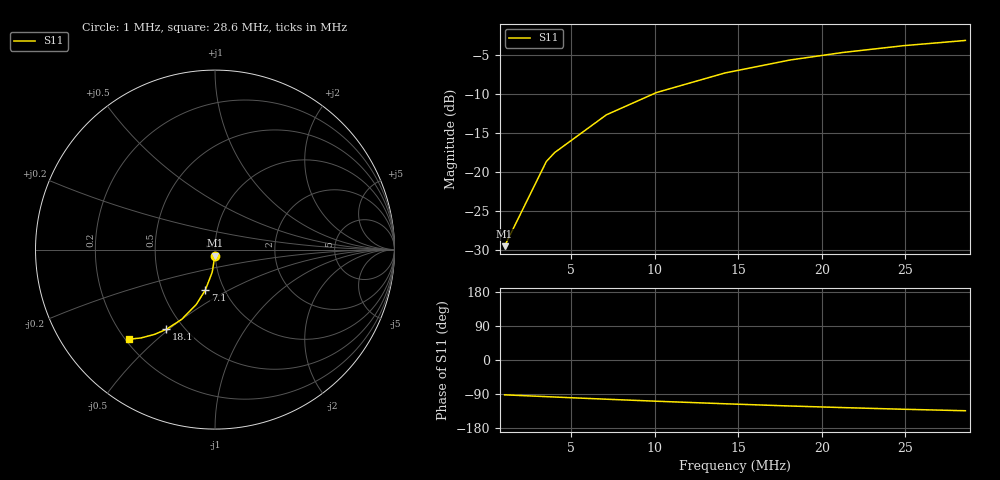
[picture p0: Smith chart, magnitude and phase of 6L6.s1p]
! ea3ghs(at)gmail.com
! 6L6 common grid VPP=311 IPP=72m
! output impedance 1675//6.3pF
#MHz S MA R 1675
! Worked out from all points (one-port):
!   10 points, 1 MHz to 28.6 MHz, reference 1675 ohm
!   lowest |S11| = -29.4 dB at 1 MHz (marker M1), VSWR 1.07, Z = 1.67e+03 - j112 ohm
!   |S11| at or under -10 dB: start of sweep to 9.914 MHz
!   S11 on the Smith chart (normalised r, x): 1 MHz: 1.00, -0.07; 7.1 MHz: 0.81, -0.39; 18.1 MHz: 0.40, -0.49; 28.6 MHz: 0.21, -0.41
1  0.0337 -91.9
3.5  0.1171 -96.7
4  0.1335 -97.7
7.1  0.2326 -103.5
10.1  0.3227 -108.8
14.2  0.4302 -115.5
18.1  0.5205 -121.4
21.2  0.5802 -125.5
24.9  0.6426 -130.0
28.6  0.6937 -133.9
